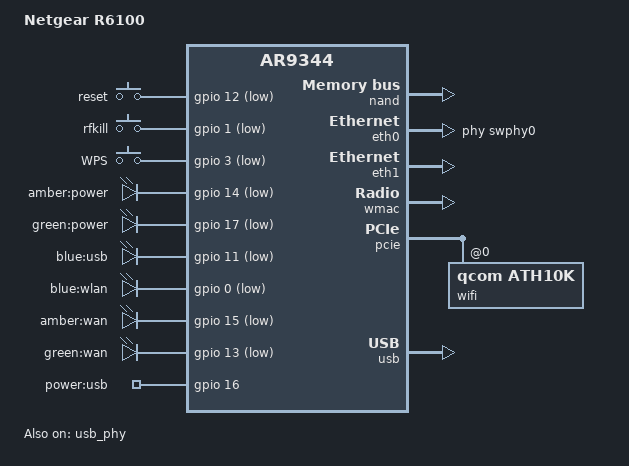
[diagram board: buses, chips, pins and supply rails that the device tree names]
// SPDX-License-Identifier: GPL-2.0-or-later OR MIT

#include "ar9344.dtsi"

#include <dt-bindings/gpio/gpio.h>
#include <dt-bindings/input/input.h>

/ {
	compatible = "netgear,r6100", "qca,ar9344";
	model = "Netgear R6100";

	aliases {
		label-mac-device = &eth0;
		led-boot = &led_power_amber;
		led-failsafe = &led_power_amber;
		led-running = &led_power_green;
		led-upgrade = &led_power_amber;
	};

	keys {
		compatible = "gpio-keys";

		reset {
			label = "reset";
			linux,code = <KEY_RESTART>;
			gpios = <&gpio 12 GPIO_ACTIVE_LOW>;
			debounce-interval = <60>;
		};

		wifi {
			label = "rfkill";
			linux,code = <KEY_RFKILL>;
			gpios = <&gpio 1 GPIO_ACTIVE_LOW>;
			debounce-interval = <60>;
		};

		wps {
			label = "WPS";
			linux,code = <KEY_WPS_BUTTON>;
			gpios = <&gpio 3 GPIO_ACTIVE_LOW>;
			debounce-interval = <60>;
		};
	};

	leds {
		compatible = "gpio-leds";

		led_power_amber: power_amber {
			label = "amber:power";
			gpios = <&gpio 14 GPIO_ACTIVE_LOW>;
		};

		led_power_green: power_green {
			label = "green:power";
			gpios = <&gpio 17 GPIO_ACTIVE_LOW>;
			default-state = "on";
		};

		usb {
			label = "blue:usb";
			gpios = <&gpio 11 GPIO_ACTIVE_LOW>;
			linux,default-trigger = "usbport";
			trigger-sources = <&hub_port1>;
		};

		wlan {
			label = "blue:wlan";
			gpios = <&gpio 0 GPIO_ACTIVE_LOW>;
			linux,default-trigger = "phy0tpt";
		};

		wan_amber {
			label = "amber:wan";
			gpios = <&gpio 15 GPIO_ACTIVE_LOW>;
		};

		wan_green {
			label = "green:wan";
			gpios = <&gpio 13 GPIO_ACTIVE_LOW>;
		};
	};

	gpio-export {
		compatible = "gpio-export";

		usb_power {
			gpio-export,name = "power:usb";
			gpio-export,output = <1>;
			gpios = <&gpio 16 GPIO_ACTIVE_HIGH>;
		};
	};
};

&nand {
	status = "okay";

	partitions {
		compatible = "fixed-partitions";
		#address-cells = <1>;
		#size-cells = <1>;

		partition@0 {
			label = "u-boot";
			reg = <0x0 0x20000>;
			read-only;
		};

		caldata: partition@20000 {
			label = "caldata";
			reg = <0x20000 0x40000>;
			read-only;
		};

		partition@60000 {
			label = "caldata-backup";
			reg = <0x60000 0x40000>;
			read-only;
		};

		partition@a0000 {
			label = "config";
			reg = <0xa0000 0x80000>;
			read-only;
		};

		partition@120000 {
			label = "pot";
			reg = <0x120000 0x80000>;
			read-only;
		};

		partition@1a0000 {
			label = "kernel";
			reg = <0x01a0000 0x0400000>;
		};

		partition@1e0000 {
			label = "ubi";
			reg = <0x05a0000 0x7560000>;
		};

		partition@7b00000 {
			label = "language";
			reg = <0x7b00000 0x200000>;
			read-only;
		};

		partition@7d00000 {
			label = "traffic_meter";
			reg = <0x7d00000 0x300000>;
			read-only;
		};
	};
};

&ref {
	clock-frequency = <40000000>;
};

&eth0 {
	status = "okay";

	phy-handle = <&swphy0>;

	nvmem-cells = <&macaddr_0>;
	nvmem-cell-names = "mac-address";

	gmac-config {
		device = <&gmac>;
		switch-phy-swap = <1>;
	};
};

&eth1 {
	status = "okay";

	nvmem-cells = <&macaddr_6>;
	nvmem-cell-names = "mac-address";
};

&wmac {
	status = "okay";

	mtd-cal-data = <&caldata 0x1000>;

	nvmem-cells = <&macaddr_0>;
	nvmem-cell-names = "mac-address";
};

&pcie {
	status = "okay";

	wifi@0,0,0 {
		compatible = "qcom,ath10k";
		reg = <0 0 0 0 0>;
		nvmem-cells = <&macaddr_c>;
		nvmem-cell-names = "mac-address";
	};
};

&usb {
	status = "okay";

	#address-cells = <1>;
	#size-cells = <0>;

	hub_port1: port@1 {
		reg = <1>;
		#trigger-source-cells = <0>;
	};
};

&usb_phy {
	status = "okay";
};

&caldata {
	compatible = "nvmem-cells";
	#address-cells = <1>;
	#size-cells = <1>;

	macaddr_0: macaddr@0 {
		reg = <0x0 0x6>;
	};

	macaddr_6: macaddr@6 {
		reg = <0x6 0x6>;
	};

	macaddr_c: macaddr@c {
		reg = <0xc 0x6>;
	};
};
